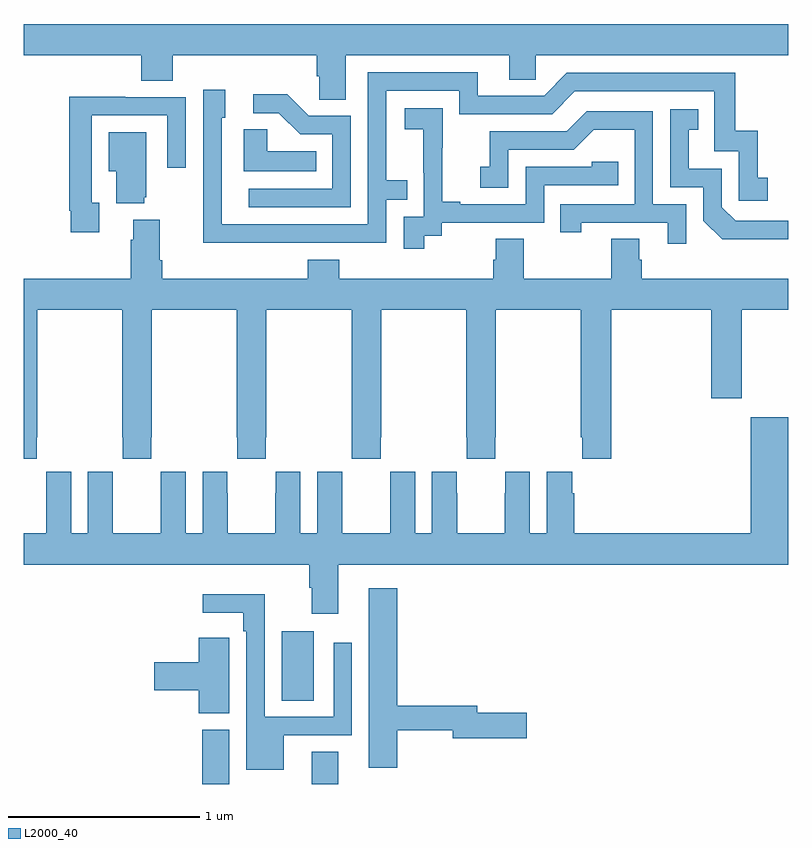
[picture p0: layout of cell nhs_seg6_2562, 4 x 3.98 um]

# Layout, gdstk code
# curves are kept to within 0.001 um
import gdstk
lib = gdstk.Library(unit=1e-6, precision=1e-09)
def R(c, l, rs):  # rectangles x0, y0, x1, y1
    for r in rs: c.add(gdstk.rectangle(r[:2], r[2:], *l))
def P(c, l, *ps):  # polygons
    for p in ps: c.add(gdstk.Polygon(p, *l))
L2000_40 = (2000, 40)

nhs_seg6_2562 = lib.new_cell('nhs_seg6_2562')
R(nhs_seg6_2562, L2000_40, [(263.933,967.5,264.076,967.785), (264.506,967.5,264.646,967.67), (264.35,967.936,264.517,968.299)])
P(nhs_seg6_2562, L2000_40, [(264.685,971.312),(265.541,971.312),(265.541,971.185),(265.68,971.185),(265.68,971.312),(267,971.312),(267,971.476),(263,971.476),(263,971.312),(263.615,971.312),(263.615,971.179),(263.78,971.179),(263.78,971.312),(264.533,971.312),(264.533,971.203),(264.546,971.203),(264.546,971.08),(264.685,971.08)],
  [(264.401,970.332),(264.897,970.332),(264.897,970.557),(265.007,970.557),(265.007,970.658),(264.897,970.658),(264.897,971.127),(265.278,971.127),(265.278,971.004),(265.764,971.004),(265.884,971.124),(266.613,971.124),(266.613,970.809),(266.742,970.809),(266.742,970.551),(266.893,970.551),(266.893,970.671),(266.84,970.671),(266.84,970.918),(266.722,970.918),(266.722,971.22),(265.842,971.22),(265.722,971.1),(265.375,971.1),(265.375,971.223),(264.801,971.223),(264.801,970.428),(264.036,970.428),(264.036,970.986),(264.055,970.986),(264.055,971.131),(263.94,971.131),(263.94,970.637),(263.938,970.637),(263.938,970.331)],
  [(264.711,970.995),(264.492,970.995),(264.379,971.108),(264.201,971.108),(264.201,971.01),(264.335,971.01),(264.446,970.899),(264.615,970.899),(264.615,970.614),(264.177,970.614),(264.177,970.518),(264.711,970.518)],
  [(263.395,970.542),(263.355,970.542),(263.355,970.998),(263.751,970.998),(263.751,970.725),(263.847,970.725),(263.847,971.094),(263.531,971.094),(263.531,971.096),(263.239,971.096),(263.239,970.498),(263.247,970.498),(263.247,970.386),(263.395,970.386)],
  [(265.096,970.369),(265.188,970.369),(265.188,970.437),(265.722,970.437),(265.722,970.632),(266.111,970.632),(266.111,970.755),(265.971,970.755),(265.971,970.728),(265.626,970.728),(265.626,970.533),(265.285,970.533),(265.285,970.546),(265.19,970.546),(265.19,970.829),(265.191,970.829),(265.191,971.035),(264.993,971.035),(264.993,970.925),(265.091,970.925),(265.091,970.697),(265.092,970.697),(265.092,970.467),(264.987,970.467),(264.987,970.299),(265.096,970.299)],
  [(267,970.446),(266.724,970.446),(266.652,970.518),(266.652,970.719),(266.479,970.719),(266.479,970.923),(266.528,970.923),(266.528,971.029),(266.382,971.029),(266.382,970.623),(266.556,970.623),(266.556,970.446),(266.654,970.349),(267,970.349)],
  [(266.466,970.533),(266.292,970.533),(266.292,971.019),(265.946,971.019),(265.841,970.914),(265.438,970.914),(265.438,970.729),(265.389,970.729),(265.389,970.62),(265.536,970.62),(265.536,970.818),(265.878,970.818),(265.982,970.922),(266.196,970.922),(266.196,970.533),(265.807,970.533),(265.807,970.386),(265.918,970.386),(265.918,970.437),(266.369,970.437),(266.369,970.326),(266.466,970.326)],
  [(264.53,970.81),(264.273,970.81),(264.273,970.925),(264.152,970.925),(264.152,970.706),(264.53,970.706)],
  [(263.63,970.569),(263.641,970.569),(263.641,970.909),(263.444,970.909),(263.444,970.706),(263.483,970.706),(263.483,970.538),(263.63,970.538)],
  [(263.067,969.313),(263.07,969.313),(263.07,969.98),(263.515,969.98),(263.515,969.313),(263.517,969.313),(263.517,969.201),(263.667,969.201),(263.667,969.313),(263.67,969.313),(263.67,969.98),(264.115,969.98),(264.115,969.313),(264.117,969.313),(264.117,969.201),(264.267,969.201),(264.267,969.313),(264.27,969.313),(264.27,969.98),(264.715,969.98),(264.715,969.313),(264.717,969.313),(264.717,969.201),(264.867,969.201),(264.867,969.313),(264.87,969.313),(264.87,969.98),(265.315,969.98),(265.315,969.313),(265.317,969.313),(265.317,969.201),(265.467,969.201),(265.467,969.313),(265.47,969.313),(265.47,969.98),(265.915,969.98),(265.915,969.313),(265.921,969.313),(265.921,969.201),(266.075,969.201),(266.075,969.98),(266.597,969.98),(266.597,969.519),(266.757,969.519),(266.757,969.98),(267,969.98),(267,970.144),(266.234,970.144),(266.234,970.242),(266.221,970.242),(266.221,970.352),(266.074,970.352),(266.074,970.144),(265.617,970.144),(265.617,970.352),(265.469,970.352),(265.469,970.242),(265.457,970.242),(265.457,970.144),(264.65,970.144),(264.65,970.243),(264.485,970.243),(264.485,970.144),(263.726,970.144),(263.726,970.24),(263.713,970.24),(263.713,970.453),(263.573,970.453),(263.573,970.346),(263.561,970.346),(263.561,970.144),(263,970.144),(263,969.201),(263.067,969.201)],
  [(264.646,968.648),(267,968.648),(267,969.418),(266.804,969.418),(266.804,968.812),(265.88,968.812),(265.88,969.02),(265.87,969.02),(265.87,969.133),(265.736,969.133),(265.736,968.812),(265.648,968.812),(265.648,969.133),(265.518,969.133),(265.518,969.02),(265.517,969.02),(265.517,968.812),(265.267,968.812),(265.267,969.02),(265.266,969.02),(265.266,969.133),(265.136,969.133),(265.136,968.812),(265.048,968.812),(265.048,969.133),(264.918,969.133),(264.918,969.02),(264.917,969.02),(264.917,968.812),(264.667,968.812),(264.667,969.02),(264.666,969.02),(264.666,969.133),(264.536,969.133),(264.536,968.812),(264.448,968.812),(264.448,969.133),(264.318,969.133),(264.318,969.02),(264.317,969.02),(264.317,968.812),(264.067,968.812),(264.067,969.02),(264.066,969.02),(264.066,969.133),(263.936,969.133),(263.936,968.812),(263.848,968.812),(263.848,969.133),(263.718,969.133),(263.718,969.02),(263.717,969.02),(263.717,968.812),(263.467,968.812),(263.467,969.02),(263.466,969.02),(263.466,969.133),(263.336,969.133),(263.336,968.812),(263.248,968.812),(263.248,969.133),(263.118,969.133),(263.118,969.02),(263.117,969.02),(263.117,968.812),(263,968.812),(263,968.648),(264.494,968.648),(264.494,968.528),(264.506,968.528),(264.506,968.391),(264.646,968.391)],
  [(264.953,967.782),(265.244,967.782),(265.244,967.739),(265.633,967.739),(265.633,967.874),(265.372,967.874),(265.372,967.91),(264.953,967.91),(264.953,968.524),(264.806,968.524),(264.806,967.584),(264.953,967.584)],
  [(264.361,967.755),(264.717,967.755),(264.717,968.239),(264.621,968.239),(264.621,967.851),(264.261,967.851),(264.261,968.494),(263.937,968.494),(263.937,968.396),(264.149,968.396),(264.149,968.3),(264.165,968.3),(264.165,967.574),(264.361,967.574)],
  [(264.076,968.153),(264.075,968.153),(264.075,968.266),(263.915,968.266),(263.915,968.138),(263.682,968.138),(263.682,967.991),(263.915,967.991),(263.915,967.87),(264.076,967.87)])

lib.write_gds('nhs_seg6_2562.gds')
